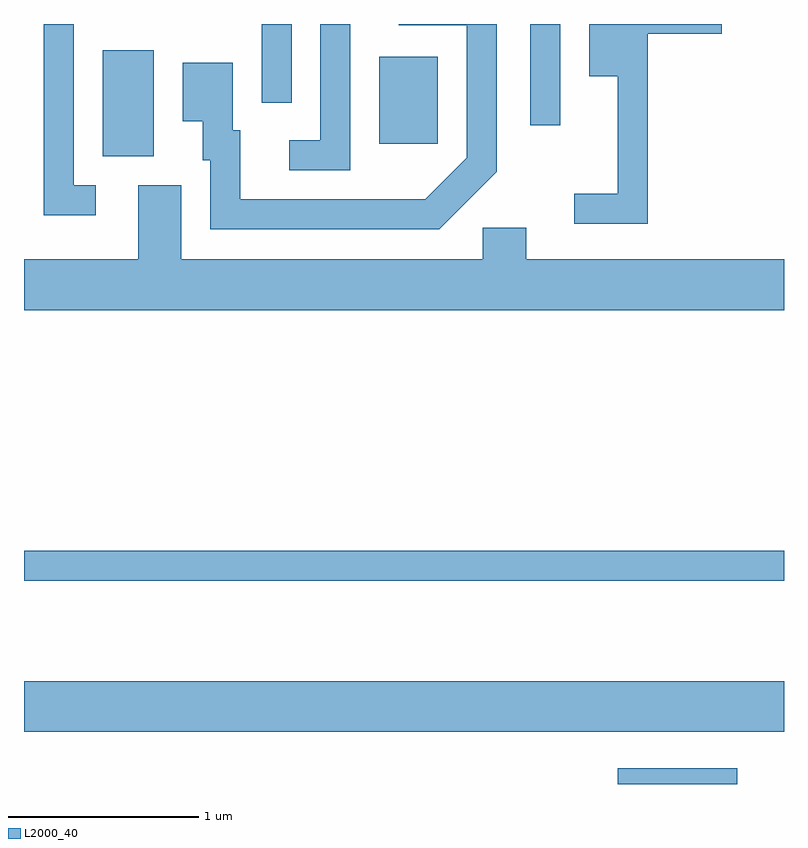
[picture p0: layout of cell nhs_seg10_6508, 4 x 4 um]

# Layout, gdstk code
import gdstk
lib = gdstk.Library(unit=1e-6, precision=1e-09)
def R(c, l, rs):  # rectangles x0, y0, x1, y1
    for r in rs: c.add(gdstk.rectangle(r[:2], r[2:], *l))
def P(c, l, *ps):  # polygons
    for p in ps: c.add(gdstk.Polygon(p, *l))
L2000_40 = (2000, 40)

nhs_seg10_6508 = lib.new_cell('nhs_seg10_6508')
R(nhs_seg10_6508, L2000_40, [(380.736,2122.522,381.364,2122.604), (377.611,2122.796,381.611,2123.064), (377.611,2123.591,381.611,2123.749), (378.026,2125.826,378.294,2126.384), (379.481,2125.891,379.789,2126.349), (380.276,2125.988,380.434,2126.522), (378.861,2126.108,379.019,2126.522)])
P(nhs_seg10_6508, L2000_40, [(380.894,2126.471),(381.284,2126.471),(381.284,2126.522),(380.586,2126.522),(380.586,2126.246),(380.736,2126.246),(380.736,2125.629),(380.508,2125.629),(380.508,2125.471),(380.894,2125.471)],
  [(380.099,2125.744),(380.099,2126.522),(379.583,2126.522),(379.583,2126.516),(379.941,2126.516),(379.941,2125.817),(379.724,2125.599),(378.749,2125.599),(378.749,2125.964),(378.709,2125.964),(378.709,2126.319),(378.446,2126.319),(378.446,2126.011),(378.551,2126.011),(378.551,2125.806),(378.591,2125.806),(378.591,2125.441),(379.797,2125.441)],
  [(377.988,2125.674),(377.874,2125.674),(377.874,2126.522),(377.716,2126.522),(377.716,2125.516),(377.988,2125.516)],
  [(379.329,2126.522),(379.171,2126.522),(379.171,2125.909),(379.008,2125.909),(379.008,2125.751),(379.329,2125.751)],
  [(381.611,2125.284),(380.254,2125.284),(380.254,2125.449),(380.026,2125.449),(380.026,2125.284),(378.439,2125.284),(378.439,2125.674),(378.211,2125.674),(378.211,2125.284),(377.611,2125.284),(377.611,2125.016),(381.611,2125.016)])

lib.write_gds('nhs_seg10_6508.gds')
